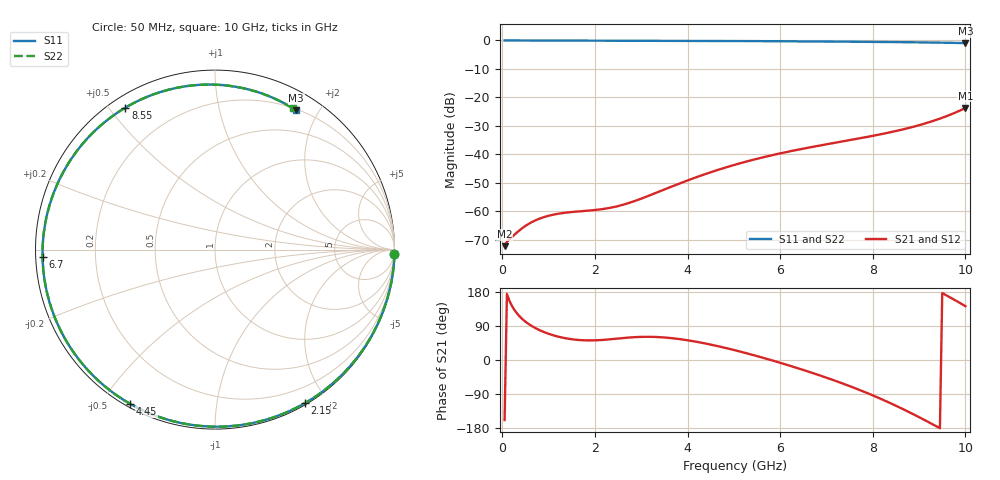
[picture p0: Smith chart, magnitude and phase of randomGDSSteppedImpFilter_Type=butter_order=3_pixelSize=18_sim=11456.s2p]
! freq	dB(S11)	phase(S11)	dB(S12)	phase(S12)
!  dB(S21)	phase(S21)	dB(S22)	phase(S22)
!S-par simulation data
#  GHz  S  DB  R 50
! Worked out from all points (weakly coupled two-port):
!   200 points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, 50 MHz to 10 GHz, reference 50 ohm
!   highest |S21| = -23.69 dB at 10 GHz (marker M1); lowest = -72.2 dB at 50 MHz (marker M2)
!   lowest |S11| = -0.9 dB at 10 GHz (marker M3), VSWR 18.56, Z = 10.8 + j86 ohm
!   |S11| at or under -10 dB: nowhere
!   |S22| runs from -0.9 to 0.0 dB; largest |S21 - S12| = 0
!   S11 on the Smith chart (normalised r, x): 50 MHz: 0, -80; 2.15 GHz: 0.02, -1.74; 4.45 GHz: 0.01, -0.59; 6.7 GHz: 0.02, -0.02; 8.55 GHz: 0.04, +0.55; 10 GHz: 0.22, +1.72
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0.05  -0.00 -1.4  -72.16 -158.5  -72.16 -158.5  -0.00 -1.4
0.1  -0.00 -2.9  -70.62 174.3  -70.62 174.3  -0.00 -2.9
0.35  -0.01 -10.0  -66.88 118.4  -66.88 118.4  -0.01 -10.0
0.7  -0.02 -19.9  -63.22 85.2  -63.22 85.2  -0.02 -19.9
1.15  -0.04 -32.4  -60.96 63.5  -60.96 63.5  -0.04 -32.4
1.75  -0.06 -48.9  -59.84 52.1  -59.84 52.1  -0.06 -48.9
2.15  -0.07 -59.7  -59.19 52.8  -59.19 52.8  -0.07 -59.6
2.75  -0.10 -75.5  -56.93 59.4  -56.93 59.4  -0.10 -75.5
3.4  -0.12 -92.3  -52.94 60.3  -52.94 60.3  -0.12 -92.2
3.9  -0.14 -105.0  -49.73 53.9  -49.73 53.9  -0.14 -104.9
4.45  -0.17 -118.8  -46.50 41.9  -46.50 41.9  -0.17 -118.7
5.05  -0.20 -133.9  -43.47 24.9  -43.47 24.9  -0.20 -133.8
5.9  -0.27 -155.8  -39.97 -3.7  -39.97 -3.7  -0.26 -155.6
6.7  -0.34 -177.6  -37.33 -34.2  -37.33 -34.2  -0.34 -177.3
7.55  -0.44 156.9  -34.83 -71.2  -34.83 -71.2  -0.43 157.4
7.95  -0.49 143.8  -33.62 -90.8  -33.62 -90.8  -0.49 144.3
8.35  -0.55 129.7  -32.31 -112.2  -32.31 -112.2  -0.55 130.4
8.55  -0.58 122.2  -31.58 -123.6  -31.58 -123.6  -0.58 123.0
8.95  -0.65 106.5  -29.95 -147.7  -29.95 -147.7  -0.65 107.5
9.3  -0.72 91.8  -28.25 -170.1  -28.25 -170.1  -0.72 92.9
9.65  -0.81 76.2  -26.20 166.6  -26.20 166.6  -0.81 77.4
10  -0.94 59.7  -23.69 142.2  -23.69 142.2  -0.93 61.1
